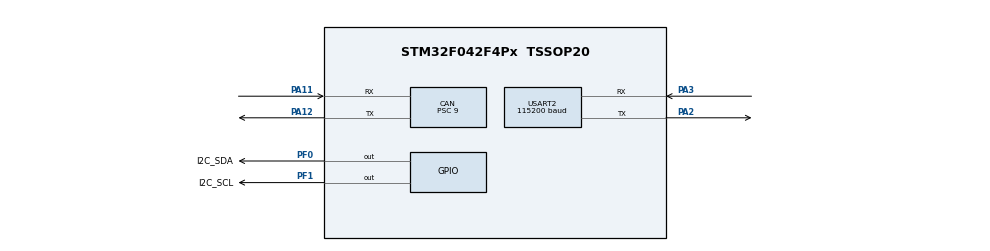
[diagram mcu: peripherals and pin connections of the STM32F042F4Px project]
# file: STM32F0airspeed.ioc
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CAN.BS1=CAN_BS1_8TQ
CAN.BS2=CAN_BS2_7TQ
CAN.CalculateTimeBit=18000
CAN.CalculateTimeQuantum=1125.0
CAN.Prescaler=9
Mcu.Family=STM32F0
Mcu.Name=STM32F042F4Px
Mcu.Package=TSSOP20
NVIC.CEC_CAN_IRQn=true\:0\:0\:false\:false\:true\:true
PA11.Mode=Master
PA11.Signal=CAN_RX
PA12.Mode=Master
PA12.Signal=CAN_TX
PA2.Mode=Asynchronous
PA2.Signal=USART2_TX
PA3.Mode=Asynchronous
PA3.Signal=USART2_RX
PF0-OSC_IN.GPIO_Label=I2C_SDA
PF0-OSC_IN.GPIO_PuPd=GPIO_PULLUP
PF0-OSC_IN.GPIO_Speed=GPIO_SPEED_FREQ_HIGH
PF0-OSC_IN.PinState=GPIO_PIN_SET
PF0-OSC_IN.Signal=GPIO_Output
PF1-OSC_OUT.GPIO_Label=I2C_SCL
PF1-OSC_OUT.GPIO_PuPd=GPIO_PULLUP
PF1-OSC_OUT.GPIO_Speed=GPIO_SPEED_FREQ_HIGH
PF1-OSC_OUT.PinState=GPIO_PIN_SET
PF1-OSC_OUT.Signal=GPIO_Output
ProjectManager.HeapSize=0x200
ProjectManager.StackSize=0x400
ProjectManager.TargetToolchain=MDK-ARM V5
USART2.BaudRate=115200
USART2.VirtualMode-Asynchronous=VM_ASYNC
USART2.WordLength=WORDLENGTH_8B
VP_SYS_VS_PINREMAP.Mode=PINREMAP
board=STM32F0airspeed

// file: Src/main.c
/**
  ******************************************************************************
  * File Name          : main.c
  * Description        : Main program body
  ******************************************************************************
  ** This notice applies to any and all portions of this file
  * that are not between comment pairs USER CODE BEGIN and
  * USER CODE END. Other portions of this file, whether
  * inserted by the user or by software development tools
  * are owned by their respective copyright owners.
  *
  * COPYRIGHT(c) 2018 STMicroelectronics
  *
  * Redistribution and use in source and binary forms, with or without modification,
  * are permitted provided that the following conditions are met:
  *   1. Redistributions of source code must retain the above copyright notice,
  *      this list of conditions and the following disclaimer.
  *   2. Redistributions in binary form must reproduce the above copyright notice,
  *      this list of conditions and the following disclaimer in the documentation
  *      and/or other materials provided with the distribution.
  *   3. Neither the name of STMicroelectronics nor the names of its contributors
  *      may be used to endorse or promote products derived from this software
  *      without specific prior written permission.
  *
  * THIS SOFTWARE IS PROVIDED BY THE COPYRIGHT HOLDERS AND CONTRIBUTORS "AS IS"
  * AND ANY EXPRESS OR IMPLIED WARRANTIES, INCLUDING, BUT NOT LIMITED TO, THE
  * IMPLIED WARRANTIES OF MERCHANTABILITY AND FITNESS FOR A PARTICULAR PURPOSE ARE
  * DISCLAIMED. IN NO EVENT SHALL THE COPYRIGHT HOLDER OR CONTRIBUTORS BE LIABLE
  * FOR ANY DIRECT, INDIRECT, INCIDENTAL, SPECIAL, EXEMPLARY, OR CONSEQUENTIAL
  * DAMAGES (INCLUDING, BUT NOT LIMITED TO, PROCUREMENT OF SUBSTITUTE GOODS OR
  * SERVICES; LOSS OF USE, DATA, OR PROFITS; OR BUSINESS INTERRUPTION) HOWEVER
  * CAUSED AND ON ANY THEORY OF LIABILITY, WHETHER IN CONTRACT, STRICT LIABILITY,
  * OR TORT (INCLUDING NEGLIGENCE OR OTHERWISE) ARISING IN ANY WAY OUT OF THE USE
  * OF THIS SOFTWARE, EVEN IF ADVISED OF THE POSSIBILITY OF SUCH DAMAGE.
  *
  ******************************************************************************
  */

#include "main.h"
#include "stm32f0xx_hal.h"
#include "can.h"
#include "usart.h"
#include "gpio.h"

/* USER CODE BEGIN Includes */
#include "i2c_ee.h"
#include "ms4525.h"
/* USER CODE END Includes */

/* USER CODE BEGIN PV */
/* Private variables ---------------------------------------------------------*/

/* USER CODE END PV */

void SystemClock_Config(void);

/* USER CODE BEGIN PFP */
/* Private function prototypes -----------------------------------------------*/

/* USER CODE END PFP */

/* USER CODE BEGIN 0 */
extern CAN_HandleTypeDef hcan;
extern u8 Data_Buf[NumByte];
u8 can_flag[8]={0x01,0x02,0x03,0x04};
/* USER CODE END 0 */

int main(void)
{

  /* USER CODE BEGIN 1 */
//	uint8_t can_flag;
	uint8_t count=0;
	uint32_t temp=0;
	uint32_t pre_temp=0;
	uint32_t pre_temp2=0;
	float Cal_Pre=0.0;
	float Cal_Tep=0.0;
	float Cal_Des=0.0;
	float Cal_Spe=0.0;
	float Cal_Kal=0.0;
	char Send_Buf[10];
	kalman1_state kalman;
  /* USER CODE END 1 */

  /* MCU Configuration----------------------------------------------------------*/

  /* Reset of all peripherals, Initializes the Flash interface and the Systick. */
  HAL_Init();

  /* Configure the system clock */
  SystemClock_Config();

  /* Initialize all configured peripherals */
  MX_GPIO_Init();							//gpio配置，主要是模拟IIc引脚
  MX_CAN_Init();							//CAN波特率配置为500k
  MX_USART2_UART_Init();			//调试使用
  /* USER CODE BEGIN 2 */
  I2C_Init();									//驱动空速计
  kalman1_init(&kalman,0,0);	//用于空速计数据卡尔曼滤波
	printf("初始化完成ok\r\n");
  /* USER CODE END 2 */

  /* Infinite loop */
  while (1)
  {

  /* USER CODE BEGIN 3 */
		temp=I2C_MS4525_ByteWrite();				//接收MS4525的温度压差数据
		switch(temp)
		{
			case I2C_TIMEOUT:									//IIC超时
				printf("I2C_TIMEOUT\r\n");			//f0的PA2引脚发送调试信息
				break;
			case I2C_TM_ERR:
				printf("I2C_TM_ERR\r\n");
				break;
			case I2C_TM_OK:
				pre_temp=(uint32_t)(Data_Buf[0]<<8+Data_Buf[1]);  //合成压差的原始数据
				Cal_Pre=calculate_pressure(pre_temp);						  //换算实际压差单位psi
				pre_temp2=(uint32_t)(Data_Buf[2]<<3);						  //合成温度原始数据
				Cal_Tep=calculate_Temperature(pre_temp2);				  //换算温度温度
				Cal_Des=get_air_density(Cal_Tep);								  //计算空气密度
			  Cal_Spe=calc_indicated_airspeed(6894.757*Cal_Pre);//计算指示空速 参数压差单位pa
				Cal_Spe=calc_true_airspeed_from_indicated(Cal_Spe,10100,Cal_Des);    //计算实际空速
			  Cal_Kal=kalman1_filter(&kalman,Cal_Spe);					//卡尔曼滤波
			  printf("Kalman: \t%.3f \t %.3f Pa \t Temperature: %.3f \t Speed: \t %.3f\r\n",Cal_Kal,6894.757*Cal_Pre,Cal_Tep,Cal_Spe); //打印数据1/滤波后的空速 2/压差单位pa 3/温度 4/实际空速
				if(ftos(Cal_Kal,Send_Buf,2))                      //滤波数据转字符串
				{
						CAN_Send_Msg(Send_Buf,8);											//通过can总线发送数据字符串 单位m/s
				}

				break;
			default:
				printf("I2C_OTH_ERR\r\n");
				break;
		}
		count++;
		HAL_Delay(100);
		if(count>10)
		{
			count=0;
//			printf("running\r\n");
//		HAL_GPIO_TogglePin(GPIOA, GPIO_PIN_2);
		}

  }
  /* USER CODE END 3 */

}

/** System Clock Configuration
*/
void SystemClock_Config(void)
{

  RCC_OscInitTypeDef RCC_OscInitStruct;
  RCC_ClkInitTypeDef RCC_ClkInitStruct;

    /**Initializes the CPU, AHB and APB busses clocks
    */
  RCC_OscInitStruct.OscillatorType = RCC_OSCILLATORTYPE_HSI;
  RCC_OscInitStruct.HSIState = RCC_HSI_ON;
  RCC_OscInitStruct.HSICalibrationValue = 16;
  RCC_OscInitStruct.PLL.PLLState = RCC_PLL_NONE;
  if (HAL_RCC_OscConfig(&RCC_OscInitStruct) != HAL_OK)
  {
    _Error_Handler(__FILE__, __LINE__);
  }

    /**Initializes the CPU, AHB and APB busses clocks
    */
  RCC_ClkInitStruct.ClockType = RCC_CLOCKTYPE_HCLK|RCC_CLOCKTYPE_SYSCLK
                              |RCC_CLOCKTYPE_PCLK1;
  RCC_ClkInitStruct.SYSCLKSource = RCC_SYSCLKSOURCE_HSI;
  RCC_ClkInitStruct.AHBCLKDivider = RCC_SYSCLK_DIV1;
  RCC_ClkInitStruct.APB1CLKDivider = RCC_HCLK_DIV1;

  if (HAL_RCC_ClockConfig(&RCC_ClkInitStruct, FLASH_LATENCY_0) != HAL_OK)
  {
    _Error_Handler(__FILE__, __LINE__);
  }

    /**Configure the Systick interrupt time
    */
  HAL_SYSTICK_Config(HAL_RCC_GetHCLKFreq()/1000);

    /**Configure the Systick
    */
  HAL_SYSTICK_CLKSourceConfig(SYSTICK_CLKSOURCE_HCLK);

  /* SysTick_IRQn interrupt configuration */
  HAL_NVIC_SetPriority(SysTick_IRQn, 0, 0);
}

void _Error_Handler(char * file, int line)
{
  while(1)
  {
  }
}

/************************ (C) COPYRIGHT STMicroelectronics *****END OF FILE****/
